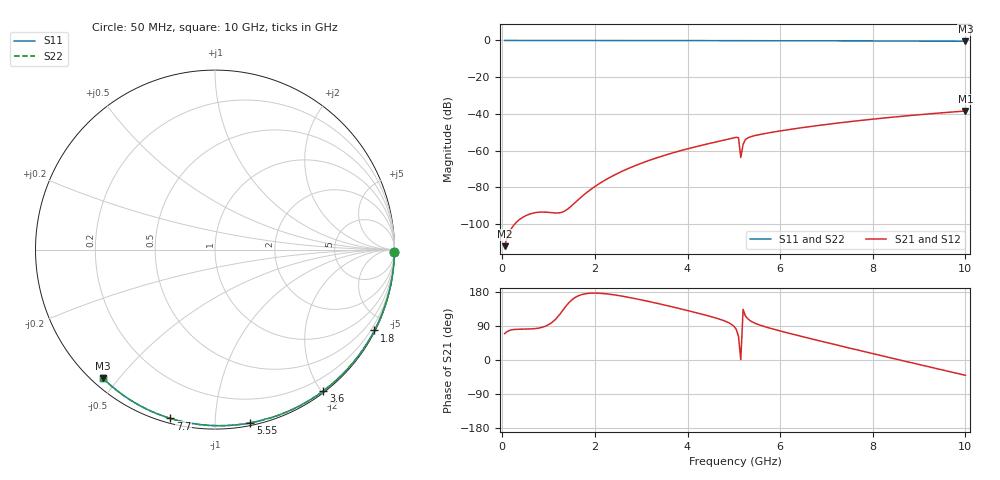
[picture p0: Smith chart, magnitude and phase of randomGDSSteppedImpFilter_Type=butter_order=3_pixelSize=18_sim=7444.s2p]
! freq	dB(S11)	phase(S11)	dB(S12)	phase(S12)
!  dB(S21)	phase(S21)	dB(S22)	phase(S22)
!S-par simulation data
#  GHz  S  DB  R 50
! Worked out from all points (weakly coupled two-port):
!   200 points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, 50 MHz to 10 GHz, reference 50 ohm
!   highest |S21| = -38.40 dB at 10 GHz (marker M1); lowest = -112.0 dB at 50 MHz (marker M2)
!   lowest |S11| = -0.4 dB at 10 GHz (marker M3), VSWR 39.07, Z = 1.54 - j22.7 ohm
!   |S11| at or under -10 dB: nowhere
!   |S22| runs from -0.4 to 0.0 dB; largest |S21 - S12| = 0
!   S11 on the Smith chart (normalised r, x): 50 MHz: open; 1.8 GHz: 0.04, -4.19; 3.6 GHz: 0.02, -2.03; 5.55 GHz: 0.02, -1.22; 7.7 GHz: 0.02, -0.77; 10 GHz: 0.03, -0.45
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0.05  -0.00 -0.8  -112.01 69.5  -112.01 69.5  -0.00 -0.8
0.9  -0.02 -13.6  -93.46 87.9  -93.46 87.9  -0.02 -13.6
1.75  -0.03 -26.1  -84.31 173.7  -84.31 173.7  -0.03 -26.1
1.8  -0.03 -26.9  -83.27 174.9  -83.27 174.9  -0.03 -26.9
1.95  -0.04 -29.1  -80.40 176.5  -80.40 176.5  -0.04 -29.1
2  -0.04 -29.8  -79.53 176.6  -79.53 176.6  -0.04 -29.8
2.35  -0.04 -34.9  -74.19 173.0  -74.19 173.0  -0.04 -34.9
2.65  -0.05 -39.2  -70.50 167.1  -70.50 167.1  -0.05 -39.2
3.4  -0.07 -49.8  -63.37 148.0  -63.37 148.0  -0.07 -49.8
3.6  -0.07 -52.5  -61.81 142.3  -61.81 142.3  -0.07 -52.5
4.2  -0.09 -60.7  -57.73 124.4  -57.73 124.4  -0.09 -60.7
5.05  -0.11 -72.1  -52.76 81.3  -52.76 81.3  -0.11 -72.1
5.1  -0.12 -72.7  -52.97 62.6  -52.97 62.6  -0.12 -72.7
5.15  -0.14 -73.3  -63.69 0.9  -63.69 0.9  -0.14 -73.3
5.2  -0.12 -73.9  -56.55 133.5  -56.55 133.5  -0.12 -73.9
5.25  -0.12 -74.6  -53.92 116.2  -53.92 116.2  -0.12 -74.6
5.35  -0.12 -75.9  -52.55 103.9  -52.55 103.9  -0.12 -75.9
5.55  -0.13 -78.5  -51.27 92.6  -51.27 92.6  -0.13 -78.5
6.7  -0.18 -92.8  -46.70 55.1  -46.70 55.1  -0.18 -92.8
7.7  -0.24 -104.8  -43.65 25.6  -43.65 25.6  -0.24 -104.8
8.35  -0.29 -112.4  -41.96 6.7  -41.96 6.7  -0.29 -112.4
10  -0.44 -131.1  -38.40 -40.4  -38.40 -40.4  -0.44 -131.1
